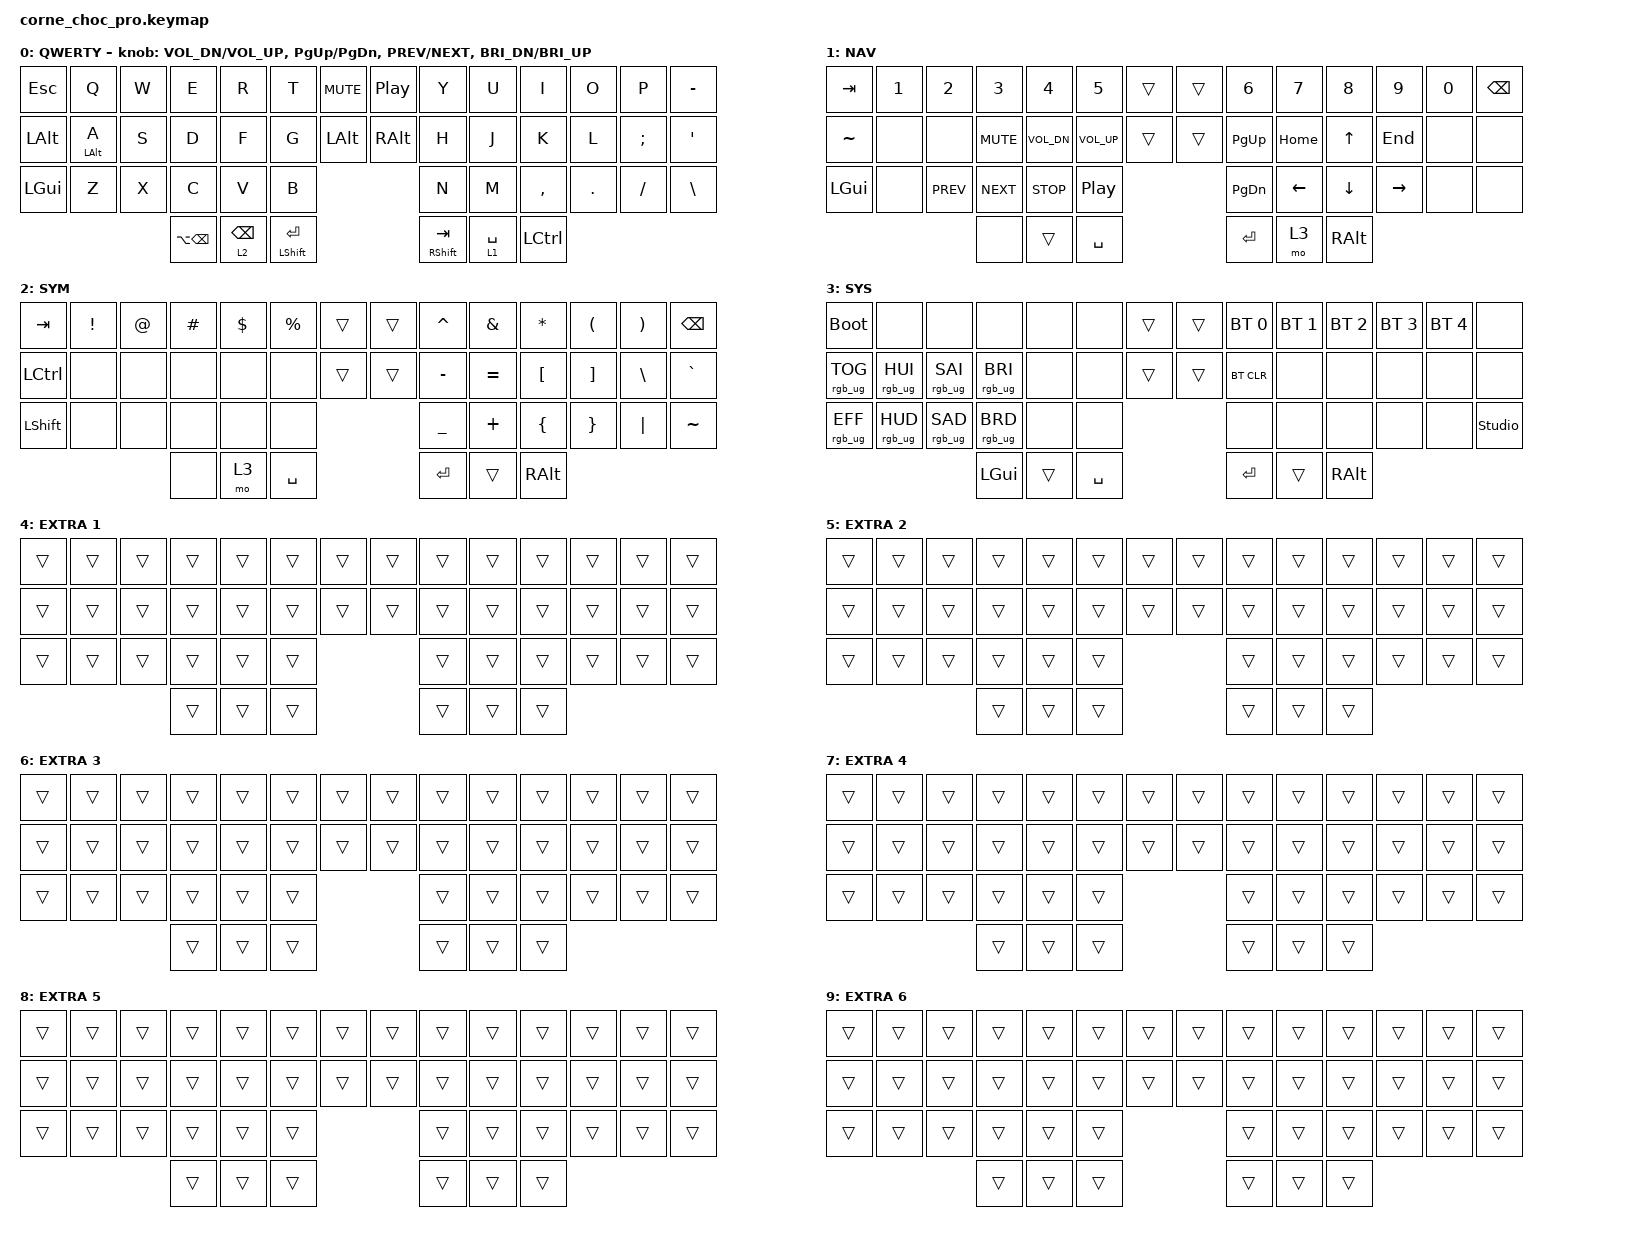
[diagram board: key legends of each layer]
/*
 * Copyright (c) 2020 The ZMK Contributors
 *
 * SPDX-License-Identifier: MIT
 *
 * Converted from QMK layout (mechboards/crkbd/pro tiko_v0)
 *
 * Layer map:
 *   0: QWERTY (base)
 *   1: NAV    (arrows, media, numbers) — hold Space
 *   2: SYM    (symbols)               — hold Backspace
 *   3: SYS    (RGB, boot)             — hold both layer keys
 */

#include <behaviors.dtsi>
#include <dt-bindings/zmk/keys.h>
#include <dt-bindings/zmk/rgb.h>
#include <dt-bindings/zmk/bt.h>

/ {
    chosen { zmk,physical-layout = &default_layout; };
};

/ {
    conditional_layers {
        compatible = "zmk,conditional-layers";
        tri_layer {
            if-layers = <1 2>;
            then-layer = <3>;
        };
    };
};

/ {
    behaviors {
        // tap-preferred mod-tap: only fires hold if key is held alone past tapping-term.
        // Prevents LALT misfires when typing fast (e.g. "as" triggering LALT+S).
        // require-prior-idle-ms: resolves as tap instantly when pressed mid-typing.
        // quick-tap-ms: double-tapping same key within window = tap, no delay.
        hm: homerow_mod {
            compatible = "zmk,behavior-hold-tap";
            #binding-cells = <2>;
            flavor = "tap-preferred";
            tapping-term-ms = <175>;
            require-prior-idle-ms = <150>;
            quick-tap-ms = <175>;
            bindings = <&kp>, <&kp>;
        };
    };
};

/ {
    keymap {
        compatible = "zmk,keymap";

        // ┌─────┬───┬───┬───┬───┬───┬──────┬──────┬───┬───┬───┬───┬───┬──────┐
        // │ ESC │ Q │ W │ E │ R │ T │ MUTE │  PP  │ Y │ U │ I │ O │ P │  -   │
        // ├─────┼───┼───┼───┼───┼───┼──────┼──────┼───┼───┼───┼───┼───┼──────┤
        // │  `  │ A │ S │ D │ F │ G │ LALT │ RALT │ H │ J │ K │ L │ ; │  '   │
        // ├─────┼───┼───┼───┼───┼───┴──────┴──────┴───┼───┼───┼───┼───┼──────┤
        // │ GUI │ Z │ X │ C │ V │ B │                 │ N │ M │ , │ . │ / │ \ │
        // └─────┴───┴───┼───┼───────┼─────────────────┼───┼───┼───┘
        //               │ — │LT2 BS │  SFT/ENT        │SFT/TAB│LT1 SPC│ — │

        default_layer {
            display-name = "QWERTY";
            bindings = <
&kp ESC       &kp Q       &kp W  &kp E              &kp R       &kp T          &kp C_MUTE  &kp C_PP  &kp Y          &kp U        &kp I             &kp O    &kp P     &kp MINUS
&kp LEFT_ALT  &hm LALT A  &kp S  &kp D              &kp F       &kp G          &kp LALT    &kp RALT  &kp H          &kp J        &kp K             &kp L    &kp SEMI  &kp SQT
&kp LGUI      &kp Z       &kp X  &kp C              &kp V       &kp B                                &kp N          &kp M        &kp COMMA         &kp DOT  &kp FSLH  &kp BSLH
                                 &kp LA(BACKSPACE)  &lt 2 BSPC  &mt LSHFT RET                        &mt RSHFT TAB  &lt 1 SPACE  &kp LEFT_CONTROL
            >;

            sensor-bindings = <
                &inc_dec_kp C_VOL_DN C_VOL_UP
                &inc_dec_kp PG_UP PG_DN
                &inc_dec_kp C_PREV C_NEXT
                &inc_dec_kp C_BRI_DN C_BRI_UP
            >;
        };

        // ┌─────┬───┬───┬───┬───┬───┬───┬───┬───┬──────┬──────┬─────┬───┬──────┐
        // │ TAB │ 1 │ 2 │ 3 │ 4 │ 5 │   │   │ 6 │  7   │  8   │  9  │ 0 │ BSPC │
        // ├─────┼───┼───┼───┼───┼───┼───┼───┼───┼──────┼──────┼─────┼───┼──────┤
        // │LCTL │   │   │MUT│VDN│VUP│   │   │PGU│ HOME │  UP  │ END │   │      │
        // ├─────┼───┼───┼───┼───┼───┴───┴───┴───┼──────┼──────┼─────┼───┼──────┤
        // │ GUI │   │PRV│NXT│STP│PLY│           │PGD│ LEFT │ DOWN │ RIGHT│   │  │
        // └─────┴───┴───┼───┼───────┼───────────┼───┼──────┼───┘
        //               │ — │  ——   │    SPC    │ENT│ MO3  │ RALT │

        nav_layer {
            display-name = "NAV";
            bindings = <
&kp TAB    &kp N1  &kp N2      &kp N3      &kp N4        &kp N5        &trans  &trans  &kp N6     &kp N7    &kp N8    &kp N9     &kp N0  &kp BSPC
&kp TILDE  &none   &none       &kp C_MUTE  &kp C_VOL_DN  &kp C_VOL_UP  &trans  &trans  &kp PG_UP  &kp HOME  &kp UP    &kp END    &none   &none
&kp LGUI   &none   &kp C_PREV  &kp C_NEXT  &kp C_STOP    &kp C_PP                      &kp PG_DN  &kp LEFT  &kp DOWN  &kp RIGHT  &none   &none
                               &none       &trans        &kp SPACE                     &kp RET    &mo 3     &kp RALT
            >;
        };

        // ┌─────┬───┬───┬───┬───┬───┬───┬───┬───┬───┬───┬───┬───┬──────┐
        // │ TAB │ ! │ @ │ # │ $ │ % │   │   │ ^ │ & │ * │ ( │ ) │ BSPC │
        // ├─────┼───┼───┼───┼───┼───┼───┼───┼───┼───┼───┼───┼───┼──────┤
        // │LCTL │   │   │   │   │   │   │   │ - │ = │ [ │ ] │ \ │  `   │
        // ├─────┼───┼───┼───┼───┼───┴───┴───┴───┼───┼───┼───┼───┼──────┤
        // │LSFT │   │   │   │   │   │           │ _ │ + │ { │ } │ | │ ~ │
        // └─────┴───┴───┼───┼───────┼───────────┼───┼───┼───┘
        //               │ — │ MO3   │    SPC    │ENT│ ——│ RALT │

        sym_layer {
            display-name = "SYM";
            bindings = <
&kp TAB    &kp EXCL  &kp AT  &kp HASH  &kp DLLR  &kp PRCNT  &trans  &trans  &kp CARET  &kp AMPS   &kp ASTRK  &kp LPAR  &kp RPAR  &kp BSPC
&kp LCTRL  &none     &none   &none     &none     &none      &trans  &trans  &kp MINUS  &kp EQUAL  &kp LBKT   &kp RBKT  &kp BSLH  &kp GRAVE
&kp LSHFT  &none     &none   &none     &none     &none                      &kp UNDER  &kp PLUS   &kp LBRC   &kp RBRC  &kp PIPE  &kp TILDE
                             &none     &mo 3     &kp SPACE                  &kp RET    &trans     &kp RALT
            >;
        };

        // RGB controls + boot (left) / BT management (right)
        // BT profile select: top-right row Y U I O P (BT0-BT4)
        // BT clear current profile: home-right row first key

        sys_layer {
            display-name = "SYS";
            bindings = <
&bootloader      &none            &none            &none            &none   &none      &trans  &trans  &bt BT_SEL 0  &bt BT_SEL 1  &bt BT_SEL 2  &bt BT_SEL 3  &bt BT_SEL 4  &none
&rgb_ug RGB_TOG  &rgb_ug RGB_HUI  &rgb_ug RGB_SAI  &rgb_ug RGB_BRI  &none   &none      &trans  &trans  &bt BT_CLR    &none         &none         &none  &none  &none
&rgb_ug RGB_EFF  &rgb_ug RGB_HUD  &rgb_ug RGB_SAD  &rgb_ug RGB_BRD  &none   &none                      &none         &none         &none         &none  &none  &studio_unlock
                                                   &kp LGUI         &trans  &kp SPACE                  &kp RET       &trans        &kp RALT
            >;
        };

        extra_layer_1 {
            display-name = "EXTRA 1";
            bindings = <
&trans  &trans  &trans  &trans  &trans  &trans  &trans  &trans  &trans  &trans  &trans  &trans  &trans  &trans
&trans  &trans  &trans  &trans  &trans  &trans  &trans  &trans  &trans  &trans  &trans  &trans  &trans  &trans
&trans  &trans  &trans  &trans  &trans  &trans                  &trans  &trans  &trans  &trans  &trans  &trans
                        &trans  &trans  &trans                  &trans  &trans  &trans
            >;
        };

        extra_layer_2 {
            display-name = "EXTRA 2";
            bindings = <
&trans  &trans  &trans  &trans  &trans  &trans  &trans  &trans  &trans  &trans  &trans  &trans  &trans  &trans
&trans  &trans  &trans  &trans  &trans  &trans  &trans  &trans  &trans  &trans  &trans  &trans  &trans  &trans
&trans  &trans  &trans  &trans  &trans  &trans                  &trans  &trans  &trans  &trans  &trans  &trans
                        &trans  &trans  &trans                  &trans  &trans  &trans
            >;
        };

        extra_layer_3 {
            display-name = "EXTRA 3";
            bindings = <
&trans  &trans  &trans  &trans  &trans  &trans  &trans  &trans  &trans  &trans  &trans  &trans  &trans  &trans
&trans  &trans  &trans  &trans  &trans  &trans  &trans  &trans  &trans  &trans  &trans  &trans  &trans  &trans
&trans  &trans  &trans  &trans  &trans  &trans                  &trans  &trans  &trans  &trans  &trans  &trans
                        &trans  &trans  &trans                  &trans  &trans  &trans
            >;
        };

        extra_layer_4 {
            display-name = "EXTRA 4";
            bindings = <
&trans  &trans  &trans  &trans  &trans  &trans  &trans  &trans  &trans  &trans  &trans  &trans  &trans  &trans
&trans  &trans  &trans  &trans  &trans  &trans  &trans  &trans  &trans  &trans  &trans  &trans  &trans  &trans
&trans  &trans  &trans  &trans  &trans  &trans                  &trans  &trans  &trans  &trans  &trans  &trans
                        &trans  &trans  &trans                  &trans  &trans  &trans
            >;
        };

        extra_layer_5 {
            display-name = "EXTRA 5";
            bindings = <
&trans  &trans  &trans  &trans  &trans  &trans  &trans  &trans  &trans  &trans  &trans  &trans  &trans  &trans
&trans  &trans  &trans  &trans  &trans  &trans  &trans  &trans  &trans  &trans  &trans  &trans  &trans  &trans
&trans  &trans  &trans  &trans  &trans  &trans                  &trans  &trans  &trans  &trans  &trans  &trans
                        &trans  &trans  &trans                  &trans  &trans  &trans
            >;
        };

        extra_layer_6 {
            display-name = "EXTRA 6";
            bindings = <
&trans  &trans  &trans  &trans  &trans  &trans  &trans  &trans  &trans  &trans  &trans  &trans  &trans  &trans
&trans  &trans  &trans  &trans  &trans  &trans  &trans  &trans  &trans  &trans  &trans  &trans  &trans  &trans
&trans  &trans  &trans  &trans  &trans  &trans                  &trans  &trans  &trans  &trans  &trans  &trans
                        &trans  &trans  &trans                  &trans  &trans  &trans
            >;
        };
    };
};
